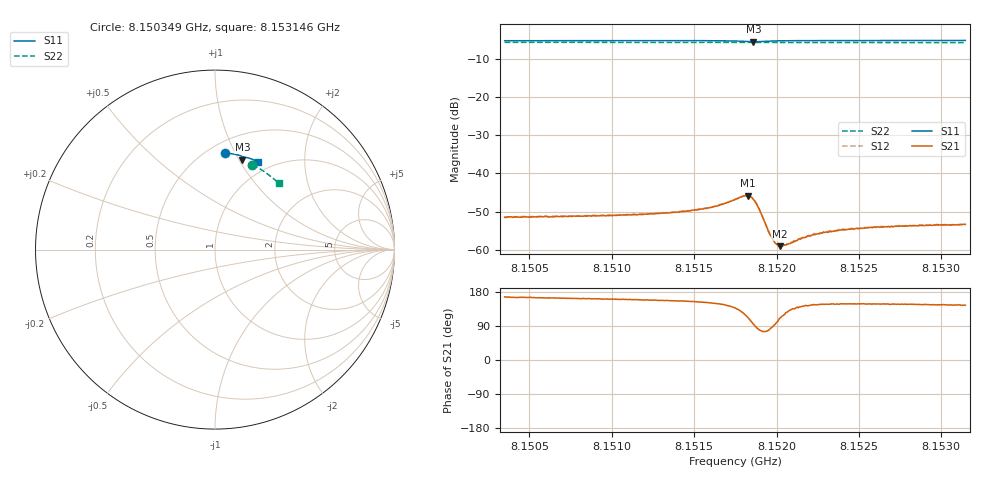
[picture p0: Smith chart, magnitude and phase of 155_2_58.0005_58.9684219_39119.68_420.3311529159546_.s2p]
#  HZ  S  RI  R  50.00
! Rohde & Schwarz Vector Network Analyzer
! Rohde-Schwarz,ZNB20-2Port,1311601062101988,3.16
! Created: UTC 3/21/2024, 12:57:12 AM
! freq[Hz]  re:S11  im:S11  re:S21  im:S21  re:S12  im:S12  re:S22  im:S22
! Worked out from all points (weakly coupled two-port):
!   401 points, 8.150349 GHz to 8.153146 GHz, reference 50 ohm
!   highest |S21| = -45.80 dB at 8.151825 GHz (marker M1); lowest = -59.0 dB at 8.15202 GHz (marker M2)
!   lowest |S11| = -5.6 dB at 8.15186 GHz (marker M3), VSWR 3.20, Z = 37.4 + j51.8 ohm
!   |S11| at or under -10 dB: nowhere
!   |S22| runs from -5.8 to -5.8 dB; largest |S21 - S12| = 0.00012
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8.1503489e9  0.0563 0.5383  -0.0026 0.00062  -0.00263 0.000698  0.2086 0.4711
8.1508175e9  0.0891 0.5347  -0.00262 0.000865  -0.00263 0.000899  0.2356 0.4577
8.1512861e9  0.1222 0.5285  -0.00277 0.00114  -0.00278 0.00119  0.2619 0.4423
8.1515518e9  0.1422 0.5231  -0.00304 0.00157  -0.00304 0.00166  0.2763 0.433
8.1516498e9  0.1501 0.5198  -0.00325 0.00199  -0.00328 0.0021  0.2814 0.4296
8.1517477e9  0.1583 0.5131  -0.00334 0.0031  -0.00331 0.00315  0.2866 0.4257
8.1517896e9  0.1602 0.5079  -0.00296 0.00399  -0.00295 0.00407  0.2887 0.4241
8.1518246e9  0.1585 0.5028  -0.00197 0.00473  -0.00193 0.0048  0.2904 0.4227
8.1518386e9  0.1565 0.5013  -0.00136 0.00483  -0.0013 0.00489  0.2909 0.4222
8.1518596e9  0.153 0.5015  -0.000364 0.00454  -0.000321 0.00463  0.292 0.4214
8.1518736e9  0.1511 0.5026  0.000169 0.00414  0.00019 0.0042  0.2925 0.4211
8.1518945e9  0.1496 0.5057  0.000617 0.00337  0.000676 0.00337  0.2935 0.4205
8.1519435e9  0.1522 0.512  0.000448 0.00188  0.000478 0.00189  0.2963 0.4189
8.1519715e9  0.1552 0.5139  0.0001 0.00144  0.000172 0.00144  0.2977 0.4178
8.1519994e9  0.1584 0.5147  -0.000189 0.00118  -0.00017 0.00118  0.2991 0.4168
8.1520204e9  0.1604 0.5153  -0.0004 0.00105  -0.000384 0.00108  0.3004 0.416
8.1520624e9  0.1647 0.5154  -0.000701 0.000967  -0.000655 0.000958  0.3024 0.4144
8.1521393e9  0.1715 0.5145  -0.00108 0.00089  -0.00107 0.000913  0.3065 0.4114
8.1522163e9  0.1777 0.5131  -0.00128 0.000904  -0.00126 0.000909  0.3104 0.4084
8.1523911e9  0.1904 0.5094  -0.00155 0.00095  -0.00156 0.001  0.3189 0.4014
8.1526848e9  0.2106 0.5022  -0.00167 0.0011  -0.00169 0.00111  0.3334 0.3889
8.1531464e9  0.2405 0.4896  -0.00175 0.00125  -0.00172 0.00133  0.3548 0.3688
